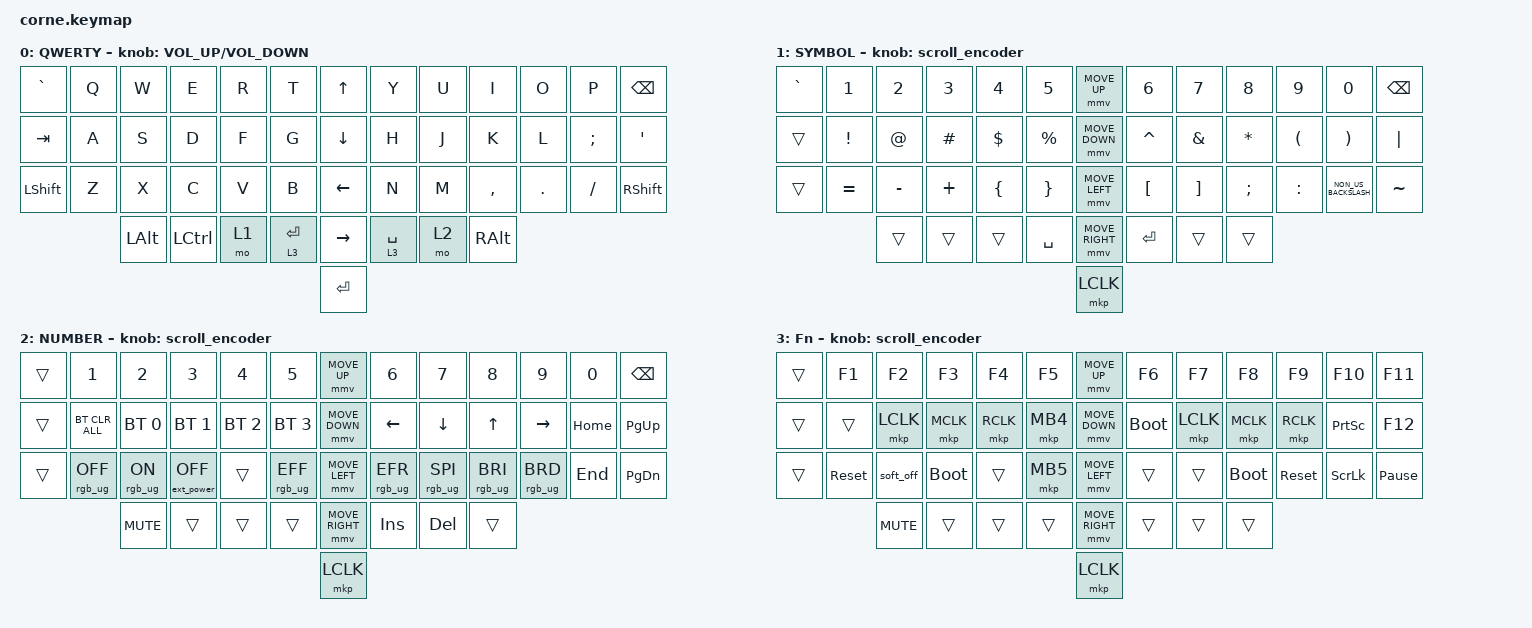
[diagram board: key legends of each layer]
#include <behaviors/mouse_keys.dtsi>
#include <dt-bindings/zmk/mouse.h>
#include <behaviors.dtsi>
#include <dt-bindings/zmk/bt.h>
#include <dt-bindings/zmk/ext_power.h>
#include <dt-bindings/zmk/keys.h>
#include <dt-bindings/zmk/pointing.h>
#include <dt-bindings/zmk/pointing.h>
#include <dt-bindings/zmk/pointing.h>
#include <dt-bindings/zmk/rgb.h>

#define ZMK_MOUSE_DEFAULT_MOVE_VAL 1200  // 600
#define ZMK_MOUSE_DEFAULT_SCRL_VAL 20    // 10
#define U_MS_U &mmv MOVE_UP
#define U_MS_D &mmv MOVE_DOWN
#define U_MS_L &mmv MOVE_LEFT
#define U_MS_R &mmv MOVE_RIGHT

/ {
    behaviors {
        td0: td0 {
            compatible = "zmk,behavior-tap-dance";
            label = "TD0";
            #binding-cells = <0>;
            bindings = <&kp LEFT_SHIFT>, <&kp CAPS>;
        };

        mmv {
            acceleration-exponent = <1>;      // 1
            time-to-max-speed-ms = <900>;    // 40
            delay-ms = <0>;                   // 0
        };

        msc {
            acceleration-exponent = <1>;      // 0
            time-to-max-speed-ms = <400>;      // 500
            delay-ms = <0>;                   // 10
        };
    };

    rgb_encoder: rgb_encoder {
        compatible = "zmk,behavior-sensor-rotate";
        label = "RGB_ENCODER";
        #sensor-binding-cells = <0>;
        bindings = <&rgb_ug RGB_BRI>, <&rgb_ug RGB_BRD>;
    };

    scroll_encoder: scroll_encoder {
        compatible = "zmk,behavior-sensor-rotate";
        #sensor-binding-cells = <0>;
        bindings = <&msc SCRL_DOWN>, <&msc SCRL_UP>;

        tap-ms = <30>;
    };

    keymap {
        compatible = "zmk,keymap";

        default_layer {
            display-name = "QWERTY";

            // --------------------------------------------------------------------------------
            // |  TAB |  Q  |  W  |  E  |  R  |  T  |                ↑    |  Y  |  U   |  I  |  O  |  P  | BKSP |      &kp UP_ARROW 
            // | SHIFT |  A  |  S  |  D  |  F  |  G  |               ↓    |  H  |  J   |  K  |  L  |  ;  |  '   | 
            // | CTRL |  Z  |  X  |  C  |  V  |  B  |                ←    |  N  |  M   |  ,  |  .  |  /  | ESC  |
            //                    | GUI | LWR | SPC |                →    | ENT | RSE  | ALT |
            //                                                      enter

            bindings = <
&kp GRAVE       &kp Q  &kp W         &kp E             &kp R  &kp T          &kp UP_ARROW     &kp Y        &kp U  &kp I      &kp O    &kp P     &kp BSPC
&kp TAB         &kp A  &kp S         &kp D             &kp F  &kp G          &kp DOWN_ARROW   &kp H        &kp J  &kp K      &kp L    &kp SEMI  &kp SQT
&kp LEFT_SHIFT  &kp Z  &kp X         &kp C             &kp V  &kp B          &kp LEFT_ARROW   &kp N        &kp M  &kp COMMA  &kp DOT  &kp FSLH  &kp RIGHT_SHIFT
                       &kp LEFT_ALT  &kp LEFT_CONTROL  &mo 1  &lt 3 ENTER    &kp RIGHT_ARROW  &lt 3 SPACE  &mo 2  &kp RALT
                                                                             &kp ENTER
            >;

            label = "QWERTY";
            sensor-bindings = <&inc_dec_kp C_VOLUME_UP C_VOLUME_DOWN>;
        };

        raise_layer {
            display-name = "SYMBOL";

            // -----------------------------------------------------------------------------------------
            // |  TAB |  !  |  @  |  #  |  $  |  %  |   |  ^  |  &  |  *  |  (  |  )  | BKSP |
            // | CTRL |     |     |     |     |     |   |  -  |  =  |  [  |  ]  |  \  |  `   |
            // | SHFT |     |     |     |     |     |   |  _  |  +  |  {  |  }  | "|" |  ~   |
            //                    | GUI |     | SPC |   | ENT |     | ALT |

            bindings = <
&kp GRAVE  &kp NUMBER_1     &kp NUMBER_2  &kp NUMBER_3  &kp NUMBER_4    &kp N5             &mmv MOVE_UP     &kp NUMBER_6      &kp N7             &kp N8         &kp N9                &kp N0                 &kp BSPC
&trans     &kp EXCLAMATION  &kp AT_SIGN   &kp HASH      &kp DOLLAR      &kp PERCENT        &mmv MOVE_DOWN   &kp CARET         &kp AMPERSAND      &kp ASTERISK   &kp LEFT_PARENTHESIS  &kp RIGHT_PARENTHESIS  &kp PIPE
&trans     &kp EQUAL        &kp MINUS     &kp PLUS      &kp LEFT_BRACE  &kp RIGHT_BRACE    &mmv MOVE_LEFT   &kp LEFT_BRACKET  &kp RIGHT_BRACKET  &kp SEMICOLON  &kp COLON             &kp NON_US_BACKSLASH   &kp TILDE
                            &trans        &trans        &trans          &kp SPACE          &mmv MOVE_RIGHT  &kp RET           &trans             &trans
                                                                                           &mkp LCLK
            >;

            label = "SYMBOL";
            sensor-bindings = <&scroll_encoder>;
        };

        lower_layer {
            display-name = "NUMBER";

            // -----------------------------------------------------------------------------------------
            // |  TAB |  1  |  2  |  3  |  4  |  5  |   |  6  |  7  |  8  |  9  |  0  | BKSP |
            // | BTCLR| BT1 | BT2 | BT3 | BT4 | BT5 |   | LFT | DWN |  UP | RGT |     |      |
            // | SHFT |     |     |     |     |     |   |     |     |     |     |     |      |
            //                    | GUI |     | SPC |   | ENT |     | ALT |

            bindings = <
&trans  &kp N1           &kp N2          &kp N3             &kp N4        &kp N5             &mmv MOVE_UP     &kp N6           &kp N7           &kp N8           &kp N9           &kp N0    &kp BSPC
&trans  &bt BT_CLR_ALL   &bt BT_SEL 0    &bt BT_SEL 1       &bt BT_SEL 2  &bt BT_SEL 3       &mmv MOVE_DOWN   &kp LEFT         &kp DOWN         &kp UP           &kp RIGHT        &kp HOME  &kp PG_UP
&trans  &rgb_ug RGB_OFF  &rgb_ug RGB_ON  &ext_power EP_OFF  &trans        &rgb_ug RGB_EFF    &mmv MOVE_LEFT   &rgb_ug RGB_EFR  &rgb_ug RGB_SPI  &rgb_ug RGB_BRI  &rgb_ug RGB_BRD  &kp END   &kp PG_DN
                         &kp C_MUTE      &trans             &trans        &trans             &mmv MOVE_RIGHT  &kp INS          &kp DEL          &trans
                                                                                             &mkp LCLK
            >;

            label = "NUMBER";
            sensor-bindings = <&scroll_encoder>;
        };

        layer_3 {
            display-name = "Fn";
            bindings = <
&trans  &kp F1      &kp F2      &kp F3       &kp F4     &kp F5      &mmv MOVE_UP     &kp F6       &kp F7     &kp F8       &kp F9      &kp F10          &kp F11
&trans  &trans      &mkp LCLK   &mkp MCLK    &mkp RCLK  &mkp MB4    &mmv MOVE_DOWN   &bootloader  &mkp LCLK  &mkp MCLK    &mkp RCLK   &kp PRINTSCREEN  &kp F12
&trans  &sys_reset  &soft_off   &bootloader  &trans     &mkp MB5    &mmv MOVE_LEFT   &trans       &trans     &bootloader  &sys_reset  &kp SCROLLLOCK   &kp PAUSE_BREAK
                    &kp C_MUTE  &trans       &trans     &trans      &mmv MOVE_RIGHT  &trans       &trans     &trans
                                                                    &mkp LCLK
            >;

            label = "FN";
            sensor-bindings = <&scroll_encoder>;
        };
    };
};
